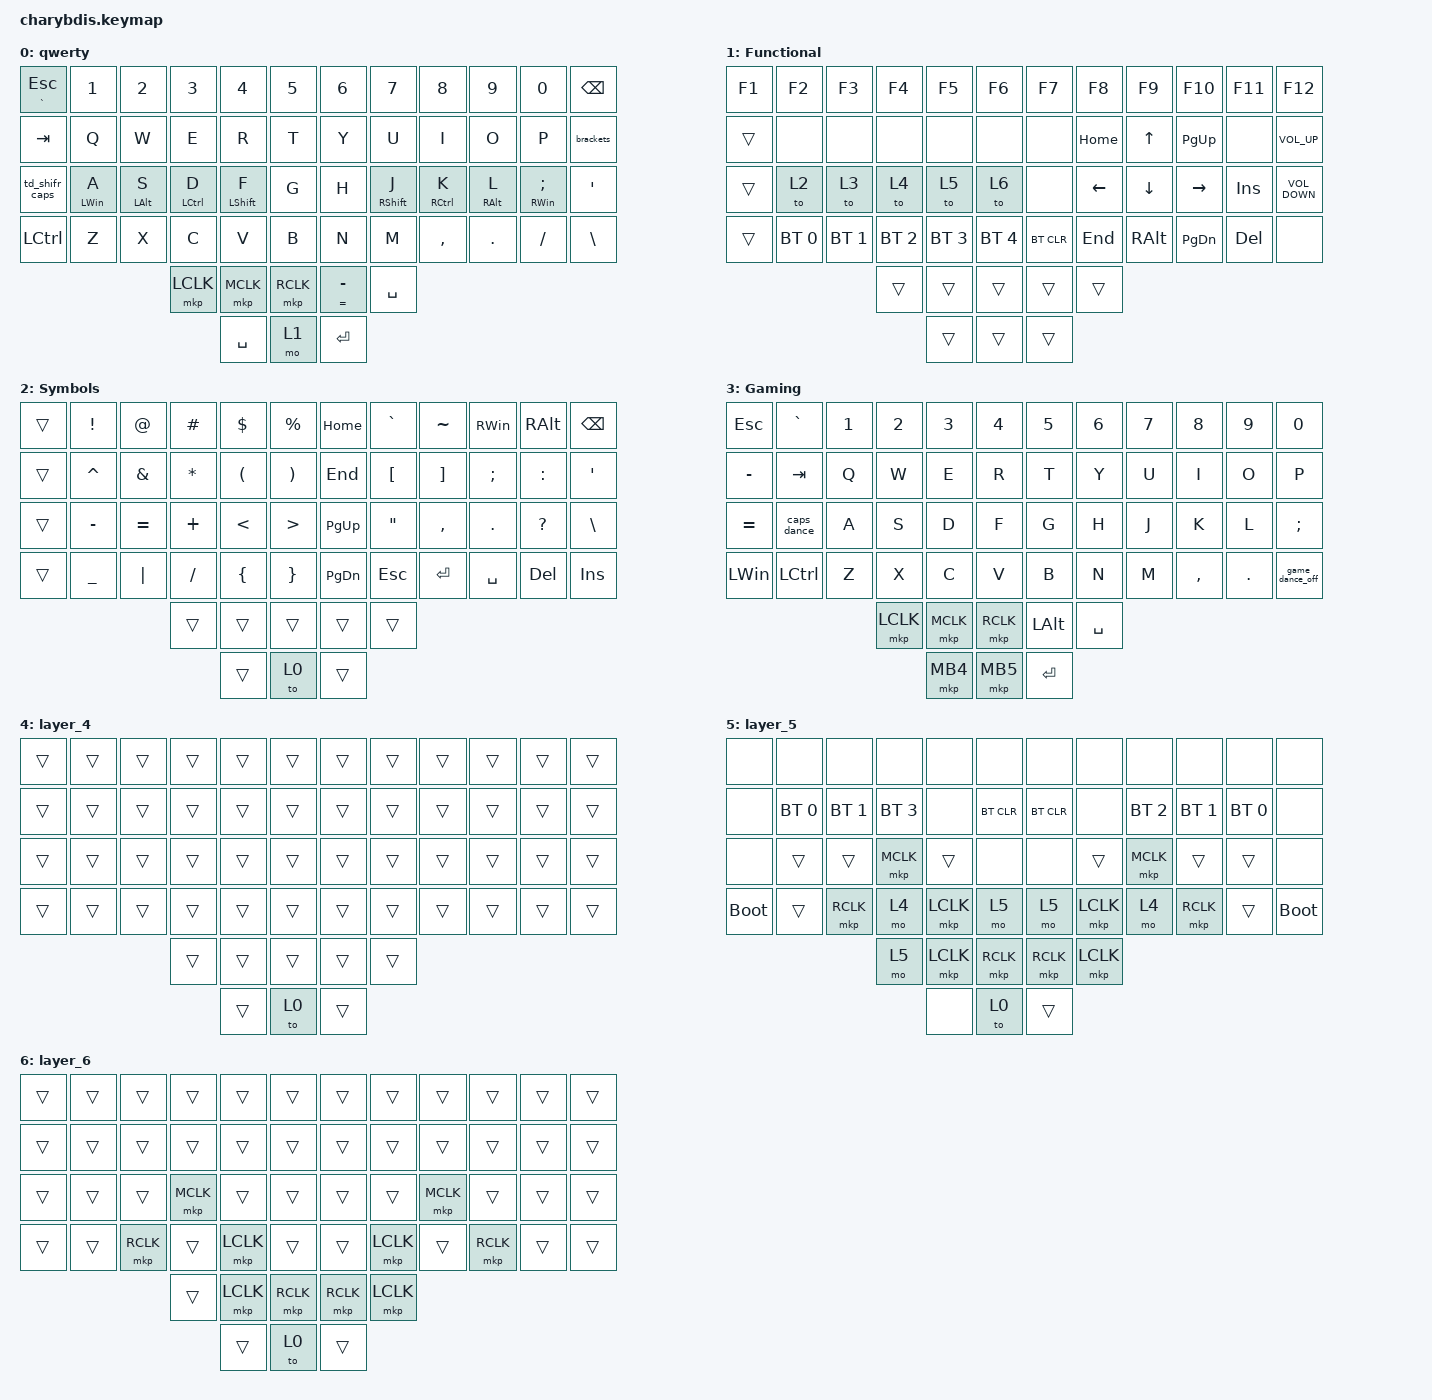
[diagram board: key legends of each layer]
#include <dt-bindings/zmk/mouse.h>
#include <input/processors.dtsi>
#include <zephyr/dt-bindings/input/input-event-codes.h>
#include <behaviors.dtsi>
#include <dt-bindings/zmk/bt.h>
#include <dt-bindings/zmk/keys.h>
#include <dt-bindings/zmk/pointing.h>
#include <dt-bindings/zmk/pointing-acceleration.h>
#include <dt-bindings/zmk/rgb.h>

#define ZMK_POINTING_DEFAULT_MOVE_VAL 1000
#define ZMK_POINTING_DEFAULT_SCRL_VAL 12

&lt {
    tapping-term-ms = <150>; // Немного уменьшили для более отзывчивого пробела-слоя
    flavor = "tap-preferred";
    quick-tap-ms = <200>;
};

&mmv_input_listener { input-processors = <&zip_xy_scaler 5 1>; };

&msc_input_listener { input-processors = <&zip_scroll_scaler 5 1>; };

&msc {
    acceleration-exponent = <1>;
    time-to-max-speed-ms = <30>;
    delay-ms = <0>;
};

&mmv {
    time-to-max-speed-ms = <500>;
    acceleration-exponent = <1>;
    trigger-period-ms = <16>;
};

&trackball_listener {
    input-processors = <&zip_xy_acceleration 15 2>; 
    /* 
       Параметры ускорения:
       15 — это базовый коэффициент чувствительности (DPI)
       2  — это экспонента ускорения (профиль нелинейности). 
       Чем быстрее вы крутите шар, тем сильнее он будет ускоряться.
    */
};

/ {
    behaviors {
        ts_snipe: trackball_snipe {
            compatible = "zmk,behavior-pointing-snipe";
            #binding-cells = <0>;
            velocity-multiplier = <4 1>;
        };

        ts_scroll: trackball_scroll {
            compatible = "zmk,behavior-pointing-scroll";
            #binding-cells = <0>;
            trigger-toggle;
        };

        game_dance_on: game_dance_on {
            compatible = "zmk,behavior-tap-dance";
            #binding-cells = <0>;
            tapping-term-ms = <250>;
            bindings = <&kp SEMI>, <&tog_game_on>;
        };

        game_dance_off: game_dance_off {
            compatible = "zmk,behavior-tap-dance";
            #binding-cells = <0>;
            tapping-term-ms = <180>;
            bindings = <&kp SLASH>, <&tog_game_off>;
        };

        caps_dance: caps_dance {
            compatible = "zmk,behavior-tap-dance";
            label = "CAPS_DANCE";
            #binding-cells = <0>;
            bindings = <&kp LEFT_SHIFT>, <&kp CAPSLOCK>;
        };

        td_shifr_caps: td_shifr_caps {
            compatible = "zmk,behavior-tap-dance";
            label = "TD_SHIFR_CAPS";
            #binding-cells = <0>;
            bindings = <&mt LEFT_SHIFT LEFT_SHIFT>, <&kp CAPSLOCK>;

            tapping-term-ms = <200>;
        };

        brackets: brackets {
            compatible = "zmk,behavior-tap-dance";
            label = "BRACKETS";
            #binding-cells = <0>;
            bindings = <&kp LEFT_BRACKET>, <&kp RIGHT_BRACKET>;
        };
    };

    macros {
        tog_game_on: tog_game_on {
            compatible = "zmk,behavior-macro";
            label = "tog_game_on";
            #binding-cells = <0>;
            bindings = <&rgb_ug RGB_COLOR_HSB(0,100,50) &to 6>; // &amc AM_OFF 
        };

        tog_game_off: tog_game_off {
            compatible = "zmk,behavior-macro";
            label = "tog_game_off";
            #binding-cells = <0>;
            bindings = <&rgb_ug RGB_EFR &to 0>; // &amc AM_ON 
        };
    };

    keymap {
        compatible = "zmk,keymap";

        qwerty {
            bindings = <
&mt GRAVE ESCAPE  &kp N1          &kp N2          &kp N3              &kp N4            &kp N5       &kp N6           &kp N7             &kp N8               &kp N9           &kp N0                   &kp BACKSPACE
&kp TAB           &kp Q           &kp W           &kp E               &kp R             &kp T        &kp Y            &kp U              &kp I                &kp O            &kp P                    &brackets
&td_shifr_caps    &mt LEFT_WIN A  &mt LEFT_ALT S  &mt LEFT_CONTROL D  &mt LEFT_SHIFT F  &kp G        &kp H            &mt RIGHT_SHIFT J  &mt RIGHT_CONTROL K  &mt RIGHT_ALT L  &mt RIGHT_WIN SEMICOLON  &kp APOS
&kp LEFT_CONTROL  &kp Z           &kp X           &kp C               &kp V             &kp B        &kp N            &kp M              &kp COMMA            &kp DOT          &kp FSLH                 &kp BACKSLASH
                                                  &mkp LCLK           &mkp MCLK         &mkp RCLK    &mt EQUAL MINUS  &kp SPACE
                                                                      &kp SPACE         &mo 1        &kp ENTER
            >;
        };

        Functional {
            bindings = <
&kp F1  &kp F2        &kp F3        &kp F4        &kp F5        &kp F6          &kp F7      &kp F8          &kp F9          &kp F10          &kp F11     &kp F12
&trans  &none         &none         &none         &none         &none           &none       &kp HOME        &kp UP_ARROW    &kp PAGE_UP      &none       &kp C_VOLUME_UP
&trans  &to 2         &to 3         &to 4         &to 5         &to 6           &none       &kp LEFT_ARROW  &kp DOWN_ARROW  &kp RIGHT_ARROW  &kp INSERT  &kp C_VOLUME_DOWN
&trans  &bt BT_SEL 0  &bt BT_SEL 1  &bt BT_SEL 2  &bt BT_SEL 3  &bt BT_SEL 4    &bt BT_CLR  &kp END         &kp RIGHT_ALT   &kp PAGE_DOWN    &kp DELETE  &none
                                    &trans        &trans        &trans          &trans      &trans
                                                  &trans        &trans          &trans
            >;
        };

        Symbols {
            bindings = <
&trans  &kp EXCLAMATION  &kp AT_SIGN    &kp HASH      &kp DOLLAR            &kp PERCENT              &kp HOME       &kp GRAVE          &kp TILDE          &kp RIGHT_WIN  &kp RIGHT_ALT  &kp BACKSPACE
&trans  &kp CARET        &kp AMPERSAND  &kp ASTERISK  &kp LEFT_PARENTHESIS  &kp RIGHT_PARENTHESIS    &kp END        &kp LEFT_BRACKET   &kp RIGHT_BRACKET  &kp SEMICOLON  &kp COLON      &kp SQT
&trans  &kp MINUS        &kp EQUAL      &kp PLUS      &kp LESS_THAN         &kp GREATER_THAN         &kp PAGE_UP    &kp DOUBLE_QUOTES  &kp COMMA          &kp PERIOD     &kp QMARK      &kp BACKSLASH
&trans  &kp UNDERSCORE   &kp PIPE       &kp SLASH     &kp LEFT_BRACE        &kp RIGHT_BRACE          &kp PAGE_DOWN  &kp ESCAPE         &kp ENTER          &kp SPACE      &kp DELETE     &kp INSERT
                                        &trans        &trans                &trans                   &trans         &trans
                                                      &trans                &to 0                    &trans
            >;
        };

        Gaming {
            bindings = <
&kp ESC       &kp GRAVE         &kp N1  &kp N2     &kp N3     &kp N4       &kp N5        &kp NUMBER_6  &kp N7  &kp N8     &kp N9      &kp N0
&kp MINUS     &kp TAB           &kp Q   &kp W      &kp E      &kp R        &kp T         &kp Y         &kp U   &kp I      &kp O       &kp P
&kp EQUAL     &caps_dance       &kp A   &kp S      &kp D      &kp F        &kp G         &kp H         &kp J   &kp K      &kp L       &kp SEMICOLON
&kp LEFT_WIN  &kp LEFT_CONTROL  &kp Z   &kp X      &kp C      &kp V        &kp B         &kp N         &kp M   &kp COMMA  &kp PERIOD  &game_dance_off
                                        &mkp LCLK  &mkp MCLK  &mkp RCLK    &kp LEFT_ALT  &kp SPACE
                                                   &mkp MB4   &mkp MB5     &kp ENTER
            >;
        };

        layer_4 {
            bindings = <
&trans  &trans  &trans  &trans  &trans  &trans    &trans  &trans  &trans  &trans  &trans  &trans
&trans  &trans  &trans  &trans  &trans  &trans    &trans  &trans  &trans  &trans  &trans  &trans
&trans  &trans  &trans  &trans  &trans  &trans    &trans  &trans  &trans  &trans  &trans  &trans
&trans  &trans  &trans  &trans  &trans  &trans    &trans  &trans  &trans  &trans  &trans  &trans
                        &trans  &trans  &trans    &trans  &trans
                                &trans  &to 0     &trans
            >;
            &trackball_listener {
                input-processors = <&zip_xy_scaler 1 3>; // Сильно замедляет движение шара на Слое 4
            };
        };

        layer_5 {
            bindings = <
&none        &none         &none         &none         &none      &none         &none       &none      &none         &none         &none         &none
&none        &bt BT_SEL 0  &bt BT_SEL 1  &bt BT_SEL 3  &none      &bt BT_CLR    &bt BT_CLR  &none      &bt BT_SEL 2  &bt BT_SEL 1  &bt BT_SEL 0  &none
&none        &trans        &trans        &mkp MCLK     &trans     &none         &none       &trans     &mkp MCLK     &trans        &trans        &none
&bootloader  &trans        &mkp RCLK     &mo 4         &mkp LCLK  &mo 5         &mo 5       &mkp LCLK  &mo 4         &mkp RCLK     &trans        &bootloader
                                         &mo 5         &mkp LCLK  &mkp RCLK     &mkp RCLK   &mkp LCLK
                                                       &none      &to 0         &trans
            >;
        };

        layer_6 {
            bindings = <
&trans  &trans  &trans     &trans     &trans     &trans       &trans     &trans     &trans     &trans     &trans  &trans
&trans  &trans  &trans     &trans     &trans     &trans       &trans     &trans     &trans     &trans     &trans  &trans
&trans  &trans  &trans     &mkp MCLK  &trans     &trans       &trans     &trans     &mkp MCLK  &trans     &trans  &trans
&trans  &trans  &mkp RCLK  &trans     &mkp LCLK  &trans       &trans     &mkp LCLK  &trans     &mkp RCLK  &trans  &trans
                           &trans     &mkp LCLK  &mkp RCLK    &mkp RCLK  &mkp LCLK
                                      &trans     &to 0        &trans
            >;
        };
    };
};
